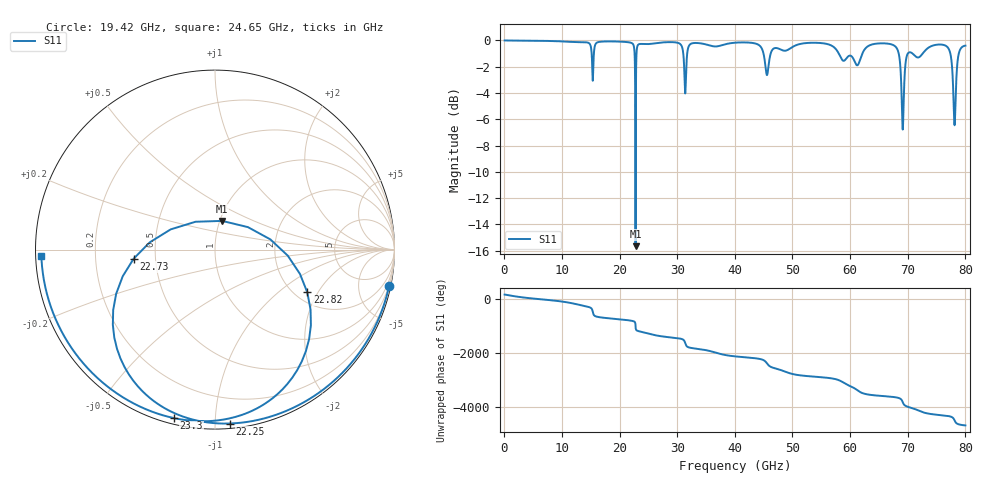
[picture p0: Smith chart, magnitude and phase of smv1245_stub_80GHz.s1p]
! SMV1245 corrected-stub 1-port S-parameters (0.05-80 GHz, 7996 pts (~0.01 GHz step)).
! Provenance: R6/R9 element-accurate SMV1245 corrected stub, 1-port S-param, plane n_s0 = varactor bottom terminal. ROGERS_4003C msub H=1.54mm Er=3.38 T=0.0175mm TanD=0.0027. Chain: MLIN(1.93x6.83) - VIAGND(D1.6,W1.93) - MLIN(1.41x5.25) - VIAGND(D1.6,W1.41) - MLIN(1.98x1.04) - MLEF(1.98). ADS S_Para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
# Hz S RI R 50
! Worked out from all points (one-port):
!   7996 points, 50 MHz to 80 GHz, reference 50 ohm
!   lowest |S11| = -15.7 dB at 22.77 GHz (marker M1), VSWR 1.39, Z = 51.4 + j16.9 ohm
!   |S11| at or under -10 dB: 22.74492 GHz to 22.79034 GHz (45.41 MHz wide, 0.199 % of centre)
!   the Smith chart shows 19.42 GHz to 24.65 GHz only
!   S11 on the Smith chart (normalised r, x): 19.42 GHz: 0.45, -9.76; 22.25 GHz: 0.03, -1.09; 22.73 GHz: 0.37, -0.05; 22.82 GHz: 2.32, -1.62; 23.3 GHz: 0.03, -0.79; 24.65 GHz: 0.02, -0.02
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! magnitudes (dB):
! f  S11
! 50 MHz  0.0
! 10.05 GHz  -0.1
! 15.34 GHz  -3.1
! 19.42 GHz  -0.1
! 20.04 GHz  -0.1
! 22.25 GHz  -0.2
! 22.73 GHz  -6.8
! 22.77 GHz  -15.7
! 22.82 GHz  -4.9
! 23.3 GHz  -0.3
! 24.65 GHz  -0.3
! 30.04 GHz  -0.2
! 31.39 GHz  -4.0
! 32.47 GHz  -0.2
! 40.03 GHz  -0.2
! 44.2 GHz  -0.4
! 45.57 GHz  -2.6
! 50.02 GHz  -0.5
! 60.02 GHz  -1.2
! 67.7 GHz  -0.4
! 68.41 GHz  -1.0
! 69.14 GHz  -6.8
! 70.01 GHz  -1.0
! 76.75 GHz  -0.5
! 77.4 GHz  -1.0
! 78.12 GHz  -6.5
! 78.92 GHz  -0.9
! 80 GHz  -0.4
